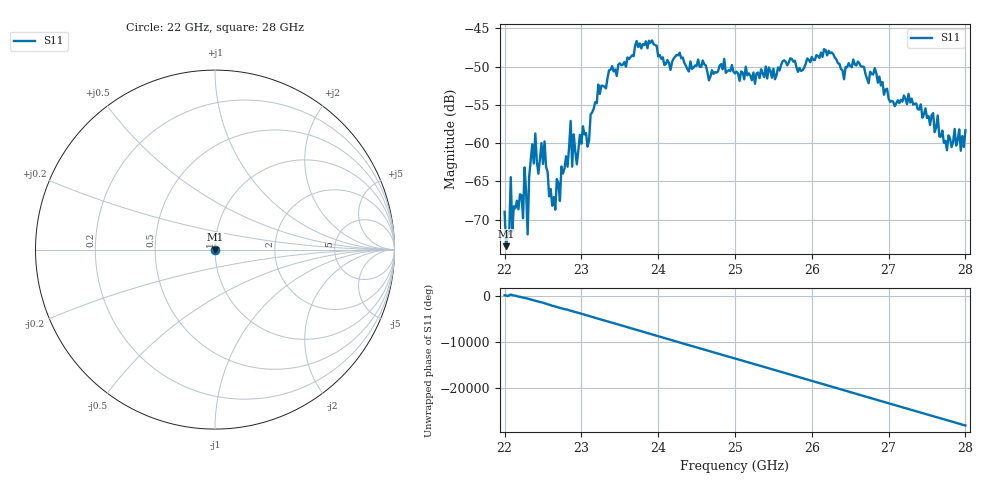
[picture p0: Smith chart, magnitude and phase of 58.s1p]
#  HZ  S  RI  R  50.00
! Rohde & Schwarz ZVA40 4Ports - Version 3.90 - 1145.1110k42 SN: 100403
! Date: 2023-10-04 07:41:45
! Measurement: S12
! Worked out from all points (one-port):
!   301 points, 22 GHz to 28 GHz, reference 50 ohm
!   lowest |S11| = -73.5 dB at 22.02 GHz (marker M1), VSWR 1.00, Z = 50 + j0.0212 ohm
!   |S11| at or under -10 dB: start of sweep to end of sweep
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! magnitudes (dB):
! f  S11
! 22 GHz  -69.0
! 22.02 GHz  -73.5
! 22.06 GHz  -71.9
! 22.08 GHz  -64.4
! 22.1 GHz  -71.5
! 22.2 GHz  -66.7
! 22.24 GHz  -69.8
! 22.26 GHz  -63.2
! 22.3 GHz  -71.9
! 22.32 GHz  -64.3
! 22.4 GHz  -58.7
! 22.44 GHz  -64.0
! 22.52 GHz  -59.8
! 22.62 GHz  -68.2
! 22.76 GHz  -64.0
! 22.86 GHz  -57.1
! 22.88 GHz  -63.1
! 22.9 GHz  -58.9
! 22.94 GHz  -62.8
! 23.22 GHz  -52.4
! 23.5 GHz  -49.6
! 24.26 GHz  -48.5
! 25 GHz  -50.9
! 25.76 GHz  -49.4
! 26.5 GHz  -49.9
! 27.26 GHz  -53.6
! 27.76 GHz  -60.9
! 28 GHz  -58.3
